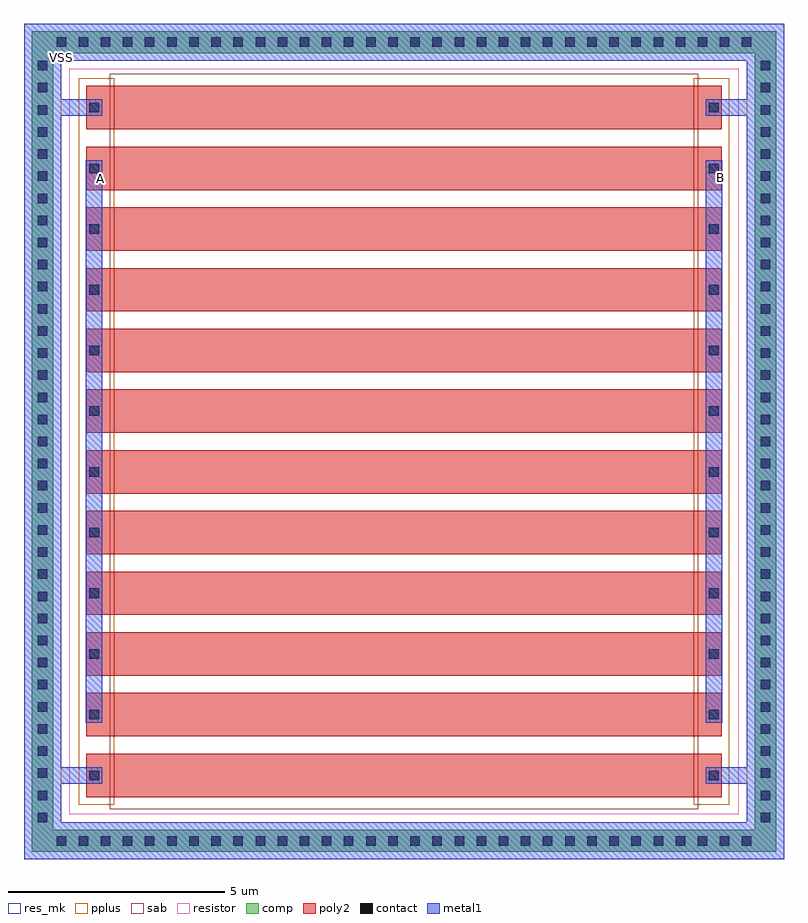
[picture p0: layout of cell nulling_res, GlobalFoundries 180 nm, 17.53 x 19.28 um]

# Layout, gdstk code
import gdstk
lib = gdstk.Library(unit=1e-6, precision=5e-09)
def R(c, l, rs):  # rectangles x0, y0, x1, y1
    for r in rs: c.add(gdstk.rectangle(r[:2], r[2:], *l))
def A(c, l, x, y, w, h, nx, ny, dx, dy):  # array of equal rectangles
    R(c, l, [(x+i*dx, y+j*dy, x+i*dx+w, y+j*dy+h) for i in range(nx) for j in range(ny)])
comp = (22, 0)
poly2 = (30, 0)
pplus = (31, 0)
contact = (33, 0)
metal1 = (34, 0)
sab = (49, 0)
resistor = (62, 0)
res_mk = (110, 5)

res_13p37u = lib.new_cell('res_13p37u')
R(res_13p37u, poly2, [(0.4,0.4,15.05,1.4)])
R(res_13p37u, pplus, [(0.22,0.22,1.04,1.58), (14.41,0.22,15.23,1.58)])
R(res_13p37u, contact, [(0.47,0.79,0.69,1.01), (14.76,0.79,14.98,1.01)])
R(res_13p37u, metal1, [(0.39,0.71,0.77,1.09), (14.68,0.71,15.06,1.09)])
R(res_13p37u, sab, [(0.94,0.12,14.51,1.68)])
R(res_13p37u, resistor, [(0,0,15.45,1.8)])
R(res_13p37u, res_mk, [(1.04,0.4,14.41,1.4)])

nulling_res = lib.new_cell('nulling_res')
R(nulling_res, pplus, [(1.3,1.26,2.12,18.02), (15.49,1.26,16.31,18.02)])
A(nulling_res, contact, 0.79, 0.32, 0.22, 0.22, 32, 2, 0.51, 18.42)
A(nulling_res, contact, 0.36, 0.86, 0.22, 0.22, 1, 35, 0, 0.51)
A(nulling_res, contact, 17.03, 0.86, 0.22, 0.22, 1, 35, 0, 0.51)
nulling_res.add(gdstk.FlexPath([(15.95,3.15),(15.95,16.13)], 0.38, ends="flush", simple_path=True, layer=34, datatype=0))  # metal1
nulling_res.add(gdstk.FlexPath([(1.66,3.15),(1.66,16.13)], 0.38, ends="flush", simple_path=True, layer=34, datatype=0))  # metal1
nulling_res.add(gdstk.FlexPath([(0.9,18.85),(17.14,18.85),(17.14,0.43),(0.47,0.43),(0.47,19.28)], 0.86, ends="flush", simple_path=True, layer=34, datatype=0))  # metal1
nulling_res.add(gdstk.FlexPath([(16.14,17.34),(16.71,17.34)], 0.38, ends="flush", simple_path=True, layer=34, datatype=0))  # metal1
nulling_res.add(gdstk.FlexPath([(0.9,17.34),(1.47,17.34)], 0.38, ends="flush", simple_path=True, layer=34, datatype=0))  # metal1
nulling_res.add(gdstk.FlexPath([(16.14,1.94),(16.71,1.94)], 0.38, ends="flush", simple_path=True, layer=34, datatype=0))  # metal1
nulling_res.add(gdstk.FlexPath([(0.9,1.94),(1.47,1.94)], 0.38, ends="flush", simple_path=True, layer=34, datatype=0))  # metal1
nulling_res.add(gdstk.FlexPath([(0.9,18.85),(17.14,18.85),(17.14,0.43),(0.47,0.43),(0.47,19.28)], 0.86, ends="flush", simple_path=True, layer=31, datatype=0))  # pplus
nulling_res.add(gdstk.FlexPath([(0.72,18.85),(17.14,18.85),(17.14,0.43),(0.47,0.43),(0.47,19.1)], 0.5, ends="flush", simple_path=True, layer=22, datatype=0))  # comp
nulling_res.add(gdstk.Reference(res_13p37u, (1.08,1.04)))
nulling_res.add(gdstk.Reference(res_13p37u, (1.08,2.44)))
nulling_res.add(gdstk.Reference(res_13p37u, (1.08,3.84)))
nulling_res.add(gdstk.Reference(res_13p37u, (1.08,5.24)))
nulling_res.add(gdstk.Reference(res_13p37u, (1.08,6.64)))
nulling_res.add(gdstk.Reference(res_13p37u, (1.08,8.04)))
nulling_res.add(gdstk.Reference(res_13p37u, (1.08,9.44)))
nulling_res.add(gdstk.Reference(res_13p37u, (1.08,10.84)))
nulling_res.add(gdstk.Reference(res_13p37u, (1.08,12.24)))
nulling_res.add(gdstk.Reference(res_13p37u, (1.08,13.64)))
nulling_res.add(gdstk.Reference(res_13p37u, (1.08,15.04)))
nulling_res.add(gdstk.Reference(res_13p37u, (1.08,16.44)))
nulling_res.add(gdstk.Label('VSS', (0.9,18.505), layer=34, texttype=10))
nulling_res.add(gdstk.Label('A', (1.795,15.705), layer=34, texttype=10))
nulling_res.add(gdstk.Label('B', (16.105,15.725), layer=34, texttype=10))

lib.write_gds('nulling_res.gds')
